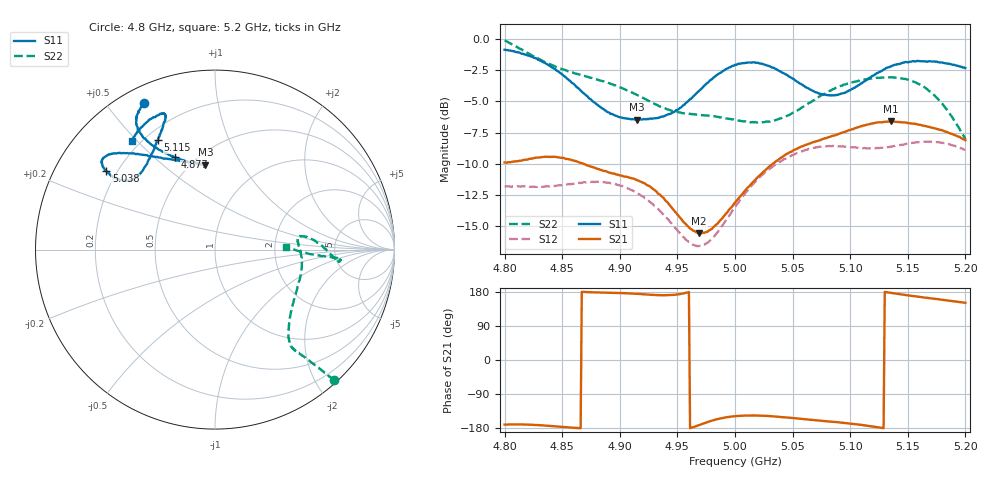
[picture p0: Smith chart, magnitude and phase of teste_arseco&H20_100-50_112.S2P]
! Network Analyzer HP8722D
! Hewlett-Packard
! Data name: Linha & Wilkinson
! Saver's name: Rodrigo Anjos
! Comments: Teste da utilização de aquisição
! continua pelo VNA HP8722D
! Time and date: 6/5/2025 13:30
!  Frequency  S11  S21  S12  S22
# HZ  S  MA R 50
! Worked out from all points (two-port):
!   401 points, 4.8 GHz to 5.2 GHz, reference 50 ohm
!   highest |S21| = -6.60 dB at 5.135 GHz (marker M1); lowest = -15.6 dB at 4.969 GHz (marker M2)
!   |S21| within 3 dB of the highest: 4.822 GHz to 4.853 GHz (30.76 MHz wide, 0.636 % of centre); 5.039 GHz to end of sweep
!   lowest |S11| = -6.5 dB at 4.915 GHz (marker M3), VSWR 2.81, Z = 29 + j35.4 ohm
!   |S11| at or under -10 dB: nowhere
!   |S22| runs from -8.0 to -0.1 dB; largest |S21 - S12| = 0.83
!   S11 on the Smith chart (normalised r, x): 4.8 GHz: 0.07, +0.63; 4.877 GHz: 0.39, +0.58; 5.038 GHz: 0.16, +0.32; 5.115 GHz: 0.25, +0.58; 5.2 GHz: 0.17, +0.48
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4.8e9  0.9044 115.8  0.3202 -170.4  0.257 -86.2  0.9852 -47.5
4.834e9  0.8043 122.4  0.3368 -172.7  0.2564 -77.0  0.8119 -49.7
4.867e9  0.6149 117.9  0.318 179.8  0.2657 -67.4  0.7157 -51.6
4.877e9  0.5607 113.4  0.3059 178.6  0.2682 -66.2  0.6944 -51.9
4.9e9  0.486 101.3  0.2842 176.7  0.259 -66.6  0.6396 -50.2
4.915e9  0.4753 96.5  0.2717 174.4  0.2417 -68.3  0.5965 -46.4
4.934e9  0.4833 99.2  0.2393 171.0  0.2071 -69.5  0.5385 -37.5
4.95e9  0.5198 109.4  0.1982 173.0  0.1714 -65.6  0.5101 -27.0
4.969e9  0.6209 123.4  0.1669 -171.5  0.1484 -48.0  0.4969 -15.1
4.982e9  0.7039 130.4  0.1776 -158.5  0.1621 -33.2  0.4902 -8.2
5e9  0.787 137.3  0.2213 -148.4  0.2128 -21.4  0.4737 -0.3
5.018e9  0.8019 141.6  0.2741 -146.4  0.2693 -18.4  0.4645 5.8
5.038e9  0.7465 144.2  0.3296 -149.6  0.321 -18.6  0.4778 9.0
5.067e9  0.6213 141.8  0.3851 -158.0  0.3653 -20.6  0.5631 4.6
5.088e9  0.5952 133.0  0.4139 -163.9  0.3718 -23.8  0.6381 -1.8
5.115e9  0.6883 117.6  0.4543 -173.6  0.3641 -26.7  0.6907 -5.4
5.134e9  0.7694 111.1  0.4658 177.9  0.3692 -28.7  0.7012 -4.7
5.135e9  0.7754 111.1  0.4677 177.6  0.3709 -28.8  0.7018 -4.8
5.147e9  0.8044 110.3  0.4629 171.9  0.3783 -31.2  0.691 -4.1
5.164e9  0.8128 113.3  0.4493 165.1  0.3876 -36.0  0.6431 -3.7
5.181e9  0.8013 119.4  0.4282 158.4  0.3829 -41.3  0.5417 -2.8
5.2e9  0.764 127.3  0.393 150.8  0.3595 -46.3  0.3975 2.3
